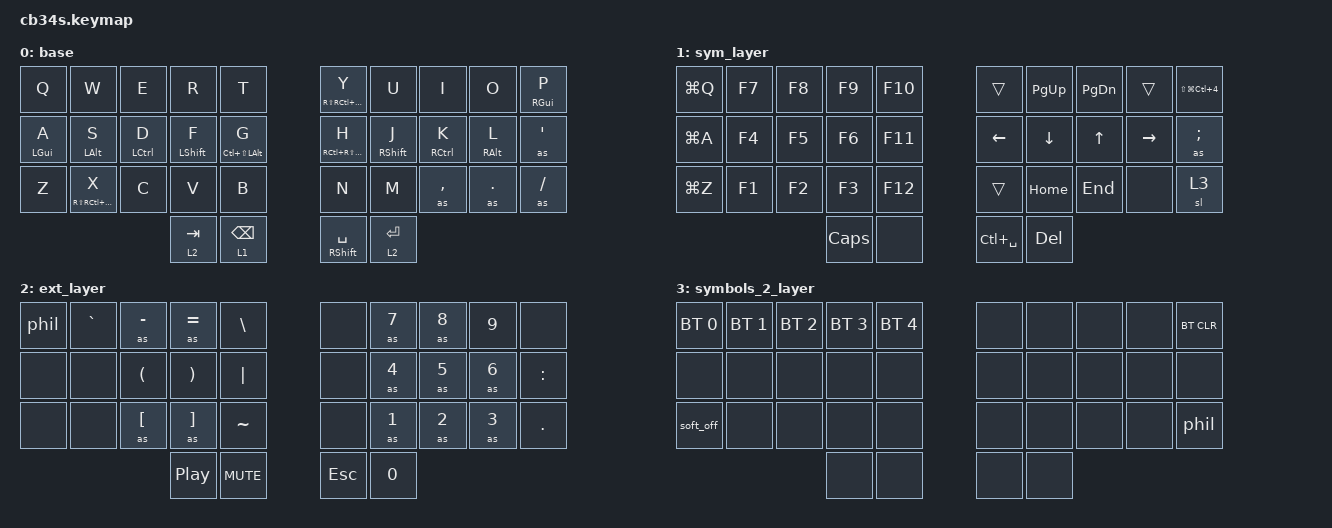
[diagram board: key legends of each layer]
#include <behaviors.dtsi>
#include <dt-bindings/zmk/keys.h>
#include <dt-bindings/zmk/bt.h>
#include <dt-bindings/zmk/outputs.h>

&sk {
    // don't release mods on other mods presses

    ignore-modifiers;
};
&lt {
    flavor = "tap-preferred";
    require-prior-idle-ms = <50>;
    tapping-term-ms = <200>;
    quick-tap-ms = <200>;
};

#define AS(keycode) &as LS(keycode) keycode     // Autoshift Macro
#define MEH LS(LC(LALT))

/ {
    behaviors {
        qt: quick_tap {
                compatible = "zmk,behavior-hold-tap";
                #binding-cells = <2>;
                flavor = "tap-preferred";
                require-prior-idle-ms = <50>;
                tapping-term-ms = <200>;
                quick-tap-ms = <200>;
                bindings = <&kp>, <&kp>;
            };
        as_ht: autoshift_hold_tap {
            compatible = "zmk,behavior-hold-tap";
            #binding-cells = <2>;
            tapping-term-ms = <200>;
            bindings = <&shifted>, <&kp>;
            flavor = "tap-preferred";
        };


    macros {
                // sometimes my device thinks a modifier is being held down
                // pressing all modifiers fixes it.

                unstick: unstick {
                compatible = "zmk,behavior-macro";
                #binding-cells = <0>;
                bindings = <&kp LSHIFT &kp RSHIFT &kp LCTRL &kp RCTRL &kp LALT &kp RALT &kp LGUI &kp RGUI>;
                };

                phil: phil {
                compatible = "zmk,behavior-macro";
                #binding-cells = <0>;
                bindings = <&kp D &kp O &kp I &kp N &kp K &kp N4 &kp N2 &kp RET>;
                };

                shifted: macro_shifted_kp {
                    #binding-cells = <1>;
                    compatible = "zmk,behavior-macro-one-param";
                    bindings =
                    <&macro_press &kp LSHFT>,
                    <&macro_param_1to1 &macro_tap &kp MACRO_PLACEHOLDER>,
                    <&macro_release &kp LSHFT>;
                };
                as: autoshift {
                    compatible = "zmk,behavior-macro-one-param";
                    #binding-cells = <1>;
                    bindings =
                    <&macro_press>,
                    <&macro_param_1to1>,
                    <&macro_param_1to2>,
                    <&as_ht MACRO_PLACEHOLDER MACRO_PLACEHOLDER>,
                    <&macro_pause_for_release>,
                    <&macro_release>,
                    <&macro_param_1to1>,
                    <&macro_param_1to2>,
                    <&as_ht MACRO_PLACEHOLDER MACRO_PLACEHOLDER>;
                };
        };

        combos {
                compatible = "zmk,combos";
                combo_esc {
                    key-positions = <0 1>;
                    bindings = <&kp ESCAPE>;
                    };
                 combo_esc1 {
                    key-positions = <11 12>;
                    bindings = <&kp ESCAPE>;
                    };
                combo_reset {
                    timeout-ms = <50>;
                    key-positions = <0 9>;
                    layers = <2>;
                    bindings = <&sys_reset>;
                };
                combo_boot {
                    timeout-ms = <50>;
                    key-positions = <5 20>;
                    layers = <2>;
                    bindings = <&bootloader>;
                };
                combo_minus {
                key-positions = <1 3>;
                bindings = <&as MINUS>;
            };
            combo_equal {
                key-positions = <2 4>;
                bindings = <&as EQUAL>;
            };
            combo_tilde {
                key-positions = <12 13>;
                bindings = <&kp TILDE>;
            };
            combo_unds {
                key-positions = <11 13>;
                bindings = <&kp UNDERSCORE>;
            };
            combo_caret {
               key-positions = <17 18>;
                bindings = <&as CARET>;
            };
            combo_semi {
                key-positions = <16 18>;
                bindings = <&as SEMICOLON>;
            };
            combo_amper {
                key-positions = <5 6>;
                bindings = <&kp AMPERSAND>;
            };
            combo_aster {
                key-positions = <6 7>;
                bindings = <&kp ASTERISK>;
            };
            combo_dollar {
                key-positions = <15 16>;
                bindings = <&kp DOLLAR>;
            };
            combo_percent {
                key-positions = <16 17>;
                bindings = <&kp PERCENT>;
            };
            combo_bang {
                key-positions = <25 26>;
                bindings = <&kp EXCL>;
            };
            combo_at {
                key-positions = <26 27>;
                bindings = <&kp AT>;
            };
            combo_num {
                key-positions = <27 28>;
                bindings = <&kp HASH>;
            };
        };
    };

    keymap {
        compatible = "zmk,keymap";

        base {
            bindings = <
            &kp Q  &kp W  &kp E  &kp R  &kp T  &qt RS(RC(RA(RGUI))) Y   &kp U  &kp I  &kp O  &qt RIGHT_GUI  P
            &qt LEFT_GUI A    &qt LEFT_ALT S    &qt LEFT_CONTROL D    &qt LEFT_SHIFT F    &qt LC(LS(LALT)) G &qt RC(RS(RALT)) H          &qt RIGHT_SHIFT J    &qt RIGHT_CONTROL K    &qt RIGHT_ALT L   &as SINGLE_QUOTE
            &kp Z    &qt RS(RC(RA(RGUI))) X             &kp C            &kp V                 &kp B              &kp N          &kp M        &as COMMA  &as DOT    &as FSLH
                                                                            &lt 2 TAB             &lt 1 BACKSPACE &qt RIGHT_SHIFT SPACE    &lt 2 ENTER
            >;
        };

        sym_layer {
            bindings = <
 &kp LG(Q)  &kp F7 &kp F8 &kp F9 &kp F10    &trans    &kp PG_UP   &kp PG_DN  &trans    &kp LS(LG(LC(NUMBER_4)))
 &kp LG(A)  &kp F4 &kp F5 &kp F6 &kp F11    &kp LEFT  &kp DOWN    &kp UP     &kp RIGHT &as SEMICOLON
 &kp LG(Z)  &kp F1 &kp F2 &kp F3 &kp F12    &trans    &kp HOME    &kp END    &none     &sl 3
                       &kp CAPSLOCK  &none   &kp LC(SPACE)   &kp DEL
            >;
        };

        // Main modifiers and arrow keys

        ext_layer {
            bindings = <
&phil    &kp GRAVE    &as MINUS  &as EQUAL &kp BSLH     &none     &as N7    &as N8    &kp N9    &none
 &none    &none    &kp LPAR   &kp RPAR  &kp PIPE   &none     &as N4    &as N5    &as N6    &kp COLON
 &none    &none    &as LBKT   &as RBKT  &kp TILDE  &none     &as N1    &as N2    &as N3    &kp DOT
                              &kp C_PP     &kp C_MUTE          &kp ESCAPE &kp N0
            >;
        };

        symbols_2_layer {
            bindings = <
&bt BT_SEL 0    &bt BT_SEL 1   &bt BT_SEL 2   &bt BT_SEL 3   &bt BT_SEL 4   &none    &none    &none    &none    &bt BT_CLR
&none           &none          &none          &none          &none          &none    &none    &none    &none    &none
&soft_off       &none          &none          &none          &none          &none    &none    &none    &none    &phil
                               &none          &none          &none    &none
            >;
        };
    };
};
